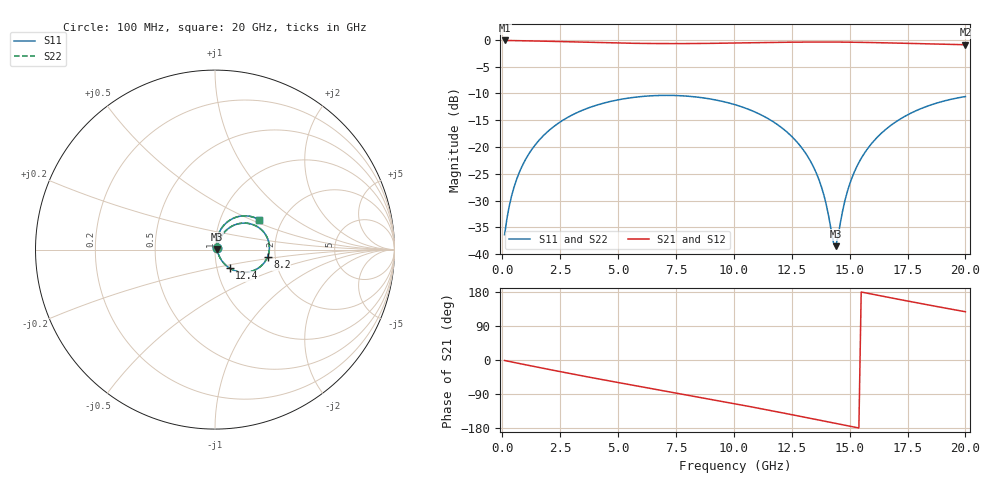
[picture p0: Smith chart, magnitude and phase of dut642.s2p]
! Touchstone file exported from HFSS 2026.1.0
!  File:  C:/ffzhzh/LocalFiles/Ansys_Project_Files/temp_train_TSV_RDL_642_1783128102_53076.aedt
!  Generated:  09:31:55 AM Jul  4, 2026
!  Design:  TSV_RDL
!  Project:  temp_train_TSV_RDL_642_1783128102_53076
! Variables:
!  h_bsmrdl = 2.82um
!  h_ox = 20um
!  h_rdl = 5um
!  h_sub = 64.25um
!  h_tmrdl = 5.32um
!  h_tsv = 64.25um
!  h_via = 3um
!  l_bsmrdl = 203.88um
!  l_sub = 3992.69um
!  l_tmrdl = 707.44um
!  m_sub = 200um
!  pitch = 39.83um
!  r_tsv = 12.37um
!  s_tmrdl = 10um
!  w_bsmrdl = 27.41um
!  w_sub = 500um
!  w_tmrdl = 23.02um
!  x_tsv_center1 = 718.95um
!  x_tsv_center2 = 950.24um
!  x_tsv_center3 = 1680.7um
!  x_tsv_center4 = 1911.99um
!  x_tsv_center5 = 2642.45um
!  x_tsv_center6 = 2873.74um
# GHz S MA R 50.000000
! Terminal data exported
! Port[1] = TM_RDL1_1_T1
! Port[2] = TM_RDL5_1_T1
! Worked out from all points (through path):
!   200 points, 100 MHz to 20 GHz, reference 50 ohm
!   highest |S21| = -0.11 dB at 100 MHz (marker M1); lowest = -0.9 dB at 20 GHz (marker M2)
!   group delay of S21, straight-line fit = 32.1 ps
!   lowest |S11| = -38.5 dB at 14.4 GHz (marker M3), VSWR 1.02, Z = 51.1 + j0.38 ohm
!   |S11| at or under -10 dB: start of sweep to end of sweep
!   |S22| runs from -38.5 to -10.4 dB; largest |S21 - S12| = 3.8e-14
!   S11 on the Smith chart (normalised r, x): 100 MHz: 1.03, +0.02; 8.2 GHz: 1.82, -0.16; 12.4 GHz: 1.15, -0.24; 20 GHz: 1.53, +0.55
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0.1  0.01517 34.3  0.9876 -1.3  0.9876 -1.3  0.01517 34.3
! Gamma 0 0 0 0
! Port Impedance 50 0 50 0
0.3  0.02804 56.0  0.9856 -3.9  0.9856 -3.9  0.02804 56.0
0.5  0.04165 62.4  0.9841 -6.4  0.9841 -6.4  0.04165 62.4
1.1  0.083 64.3  0.9795 -13.8  0.9795 -13.8  0.083 64.3
2.1  0.1478 56.3  0.969 -25.9  0.969 -25.9  0.1478 56.3
3.5  0.222 41.7  0.9511 -42.4  0.9511 -42.4  0.222 41.7
5.1  0.2781 24.6  0.9335 -60.5  0.9335 -60.5  0.2781 24.6
6.8  0.3027 6.7  0.9239 -79.3  0.9239 -79.3  0.3027 6.7
8.2  0.2955 -8.0  0.9244 -94.8  0.9244 -94.8  0.2955 -8.0
10.1  0.2465 -28.1  0.935 -116.1  0.935 -116.1  0.2464 -28.1
11.4  0.1881 -41.8  0.9449 -131.2  0.9449 -131.2  0.1881 -41.8
12.4  0.1315 -51.8  0.9513 -143.0  0.9513 -143.0  0.1315 -51.8
13.4  0.06774 -58.7  0.9548 -155.1  0.9548 -155.1  0.06775 -58.6
13.9  0.03478 -54.8  0.955 -161.2  0.955 -161.2  0.03481 -54.7
14.3  0.01279 -12.9  0.9544 -166.0  0.9544 -166.0  0.01286 -12.8
14.4  0.01185 18.2  0.9542 -167.3  0.9542 -167.3  0.01192 18.2
14.8  0.03174 73.2  0.9527 -172.1  0.9527 -172.1  0.03176 73.1
15.2  0.05818 78.5  0.9505 -177.0  0.9505 -177.0  0.05819 78.4
15.8  0.09796 76.2  0.9459 175.8  0.9459 175.8  0.09796 76.2
16.7  0.1544 68.3  0.937 165.0  0.937 165.0  0.1544 68.3
18.2  0.2335 52.9  0.9193 147.6  0.9193 147.6  0.2335 52.9
20  0.2957 34.1  0.9009 127.3  0.9009 127.3  0.2957 34.1
